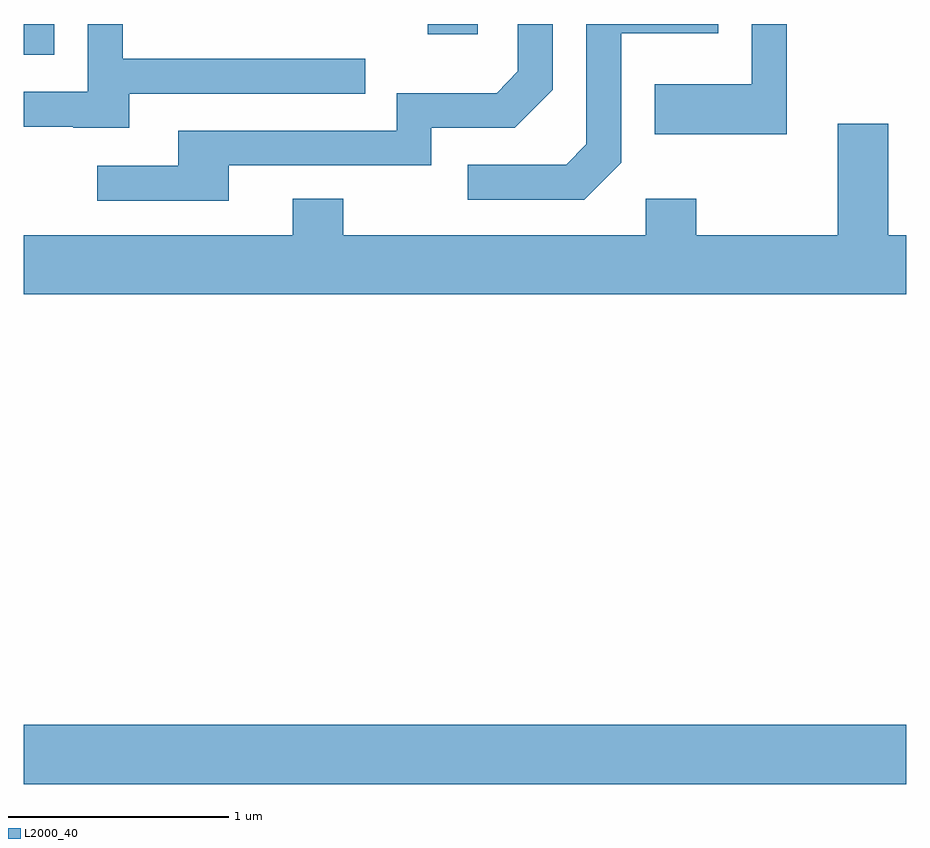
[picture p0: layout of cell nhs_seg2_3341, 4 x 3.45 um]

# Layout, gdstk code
import gdstk
lib = gdstk.Library(unit=1e-6, precision=1e-09)
def R(c, l, rs):  # rectangles x0, y0, x1, y1
    for r in rs: c.add(gdstk.rectangle(r[:2], r[2:], *l))
def P(c, l, *ps):  # polygons
    for p in ps: c.add(gdstk.Polygon(p, *l))
L2000_40 = (2000, 40)

nhs_seg2_3341 = lib.new_cell('nhs_seg2_3341')
R(nhs_seg2_3341, L2000_40, [(283.611,1008.356,287.611,1008.624), (283.611,1011.663,283.749,1011.802), (285.441,1011.756,285.669,1011.802)])
P(nhs_seg2_3341, L2000_40, [(287.069,1011.802),(286.911,1011.802),(286.911,1011.529),(286.471,1011.529),(286.471,1011.301),(287.069,1011.301)],
  [(284.089,1011.486),(285.158,1011.486),(285.158,1011.644),(284.059,1011.644),(284.059,1011.802),(283.901,1011.802),(283.901,1011.494),(283.611,1011.494),(283.611,1011.336),(283.835,1011.336),(283.835,1011.331),(284.089,1011.331)],
  [(286.319,1011.174),(286.319,1011.761),(286.759,1011.761),(286.759,1011.802),(286.161,1011.802),(286.161,1011.257),(286.069,1011.164),(285.623,1011.164),(285.623,1011.006),(286.152,1011.006)],
  [(284.539,1011.161),(285.459,1011.161),(285.459,1011.331),(285.837,1011.331),(286.009,1011.504),(286.009,1011.802),(285.851,1011.802),(285.851,1011.587),(285.754,1011.489),(285.301,1011.489),(285.301,1011.319),(284.311,1011.319),(284.311,1011.159),(283.943,1011.159),(283.943,1011.001),(284.539,1011.001)],
  [(287.611,1010.844),(287.529,1010.844),(287.529,1011.349),(287.301,1011.349),(287.301,1010.844),(286.659,1010.844),(286.659,1011.009),(286.431,1011.009),(286.431,1010.844),(285.059,1010.844),(285.059,1011.009),(284.831,1011.009),(284.831,1010.844),(283.611,1010.844),(283.611,1010.576),(287.611,1010.576)])

lib.write_gds('nhs_seg2_3341.gds')
